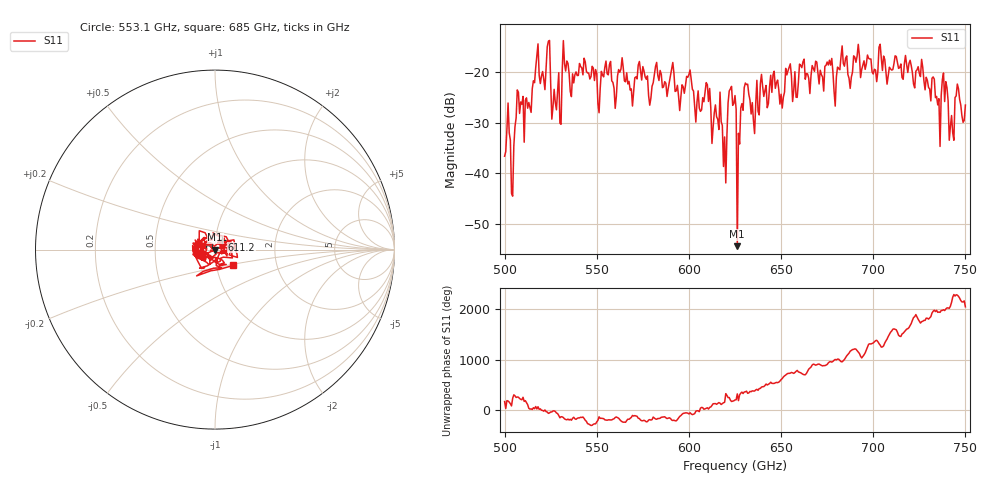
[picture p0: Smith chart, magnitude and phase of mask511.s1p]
!Created with skrf (http://scikit-rf.org).
# GHz S MA R 50.0
!freq magS11 angS11
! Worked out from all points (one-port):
!   401 points, 500 GHz to 750 GHz, reference 50 ohm
!   lowest |S11| = -54.3 dB at 626.2 GHz (marker M1), VSWR 1.00, Z = 50.2 - j0.122 ohm
!   |S11| at or under -10 dB: start of sweep to end of sweep
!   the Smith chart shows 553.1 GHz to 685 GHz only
!   S11 on the Smith chart (normalised r, x): 553.1 GHz: 0.83, -0.04; 611.2 GHz: 1.08, +0.12; 685 GHz: 1.21, -0.22
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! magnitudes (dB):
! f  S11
! 500 GHz  -36.6
! 504.4 GHz  -44.5
! 507.5 GHz  -24.1
! 513.8 GHz  -27.1
! 516.9 GHz  -19.2
! 523.8 GHz  -14.1
! 526.9 GHz  -23.5
! 531.2 GHz  -19.9
! 533.1 GHz  -19.9
! 553.1 GHz  -20.7
! 562.5 GHz  -20.1
! 593.8 GHz  -22.7
! 611.2 GHz  -23.3
! 619.4 GHz  -32.8
! 623.8 GHz  -26.6
! 625 GHz  -24.7
! 626.2 GHz  -54.3
! 631.2 GHz  -22.6
! 635 GHz  -29.6
! 656.2 GHz  -25.9
! 685 GHz  -17.4
! 687.5 GHz  -23.3
! 718.8 GHz  -20.2
! 735 GHz  -26.5
! 738.8 GHz  -25.9
! 742.5 GHz  -28.6
! 745.6 GHz  -22.5
! 750 GHz  -26.6
